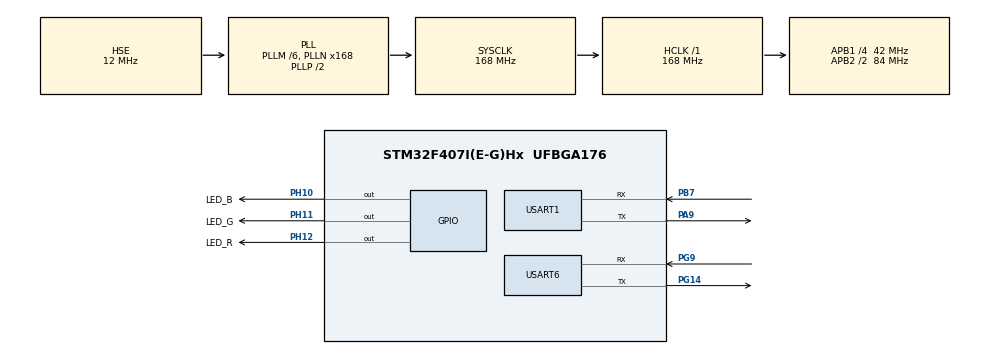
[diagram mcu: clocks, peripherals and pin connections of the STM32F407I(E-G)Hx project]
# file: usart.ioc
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Mcu.Family=STM32F4
Mcu.Name=STM32F407I(E-G)Hx
Mcu.Package=UFBGA176
NVIC.PriorityGroup=NVIC_PRIORITYGROUP_4
NVIC.USART1_IRQn=true\:0\:0\:false\:false\:false\:true\:true
NVIC.USART6_IRQn=true\:0\:0\:false\:false\:false\:true\:true
PA13.Mode=Serial_Wire
PA13.Signal=SYS_JTMS-SWDIO
PA14.Mode=Serial_Wire
PA14.Signal=SYS_JTCK-SWCLK
PA9.Mode=Asynchronous
PA9.Signal=USART1_TX
PB7.Mode=Asynchronous
PB7.Signal=USART1_RX
PD5.Signal=USART2_TX
PD6.Signal=USART2_RX
PG14.Mode=Asynchronous
PG14.Signal=USART6_TX
PG9.Mode=Asynchronous
PG9.Signal=USART6_RX
PH0-OSC_IN.Mode=HSE-External-Oscillator
PH0-OSC_IN.Signal=RCC_OSC_IN
PH1-OSC_OUT.Mode=HSE-External-Oscillator
PH1-OSC_OUT.Signal=RCC_OSC_OUT
PH10.GPIO_Label=LED_B
PH10.GPIO_PuPd=GPIO_PULLUP
PH10.GPIO_Speed=GPIO_SPEED_FREQ_HIGH
PH10.PinState=GPIO_PIN_SET
PH10.Signal=GPIO_Output
PH11.GPIO_Label=LED_G
PH11.GPIO_PuPd=GPIO_PULLUP
PH11.GPIO_Speed=GPIO_SPEED_FREQ_HIGH
PH11.PinState=GPIO_PIN_SET
PH11.Signal=GPIO_Output
PH12.GPIO_Label=LED_R
PH12.GPIO_PuPd=GPIO_PULLUP
PH12.GPIO_Speed=GPIO_SPEED_FREQ_HIGH
PH12.PinState=GPIO_PIN_SET
PH12.Signal=GPIO_Output
ProjectManager.HeapSize=0x200
ProjectManager.StackSize=0x400
ProjectManager.TargetToolchain=MDK-ARM V5
RCC.48MHZClocksFreq_Value=84000000
RCC.AHBFreq_Value=168000000
RCC.APB1CLKDivider=RCC_HCLK_DIV4
RCC.APB1Freq_Value=42000000
RCC.APB1TimFreq_Value=84000000
RCC.APB2CLKDivider=RCC_HCLK_DIV2
RCC.APB2Freq_Value=84000000
RCC.APB2TimFreq_Value=168000000
RCC.CortexFreq_Value=168000000
RCC.HCLKFreq_Value=168000000
RCC.HSE_VALUE=12000000
RCC.HSI_VALUE=16000000
RCC.LSE_VALUE=32768
RCC.PLLM=6
RCC.PLLN=168
RCC.PLLSourceVirtual=RCC_PLLSOURCE_HSE
RCC.SYSCLKFreq_VALUE=168000000
RCC.SYSCLKSource=RCC_SYSCLKSOURCE_PLLCLK
RCC.VCOOutputFreq_Value=336000000
USART1.VirtualMode=VM_ASYNC
USART6.VirtualMode=VM_ASYNC
board=custom

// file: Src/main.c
/* USER CODE BEGIN Header */
/**
  ******************************************************************************
  * @file           : main.c
  * @brief          : Main program body
  ******************************************************************************
  * @attention
  *
  * <h2><center>&copy; Copyright (c) 2019 STMicroelectronics.
  * All rights reserved.</center></h2>
  *
  * This software component is licensed by ST under BSD 3-Clause license,
  * the "License"; You may not use this file except in compliance with the
  * License. You may obtain a copy of the License at:
  *                        opensource.org/licenses/BSD-3-Clause
  *
  ******************************************************************************
  */
/* USER CODE END Header */

#include "main.h"
#include "usart.h"
#include "gpio.h"

void SystemClock_Config(void);

/* USER CODE BEGIN 0 */

void USART1_IRQHandler(void)
{
    volatile uint8_t receive;
    //receive interrupt 接收中断
    if(huart1.Instance->SR & UART_FLAG_RXNE)
    {
        receive = huart1.Instance->DR;
        HAL_GPIO_TogglePin(LED_R_GPIO_Port, LED_R_Pin);

    }
    //idle interrupt 空闲中断
    else if(huart1.Instance->SR & UART_FLAG_IDLE)
    {
        receive = huart1.Instance->DR;
        HAL_GPIO_WritePin(LED_R_GPIO_Port, LED_R_Pin, GPIO_PIN_RESET);
    }

}

void USART6_IRQHandler(void)
{

    volatile uint8_t receive;
    //receive interrupt 接收中断
    if(huart6.Instance->SR & UART_FLAG_RXNE)
    {
        receive = huart6.Instance->DR;
        HAL_GPIO_TogglePin(LED_G_GPIO_Port, LED_G_Pin);

    }
    //idle interrupt 空闲中断
    else if(huart6.Instance->SR & UART_FLAG_IDLE)
    {
        receive = huart6.Instance->DR;
        HAL_GPIO_WritePin(LED_G_GPIO_Port, LED_G_Pin, GPIO_PIN_RESET);
    }

}

/* USER CODE END 0 */

int main(void)
{

  /* MCU Configuration--------------------------------------------------------*/

  /* Reset of all peripherals, Initializes the Flash interface and the Systick. */
  HAL_Init();

  /* Configure the system clock */
  SystemClock_Config();

  /* Initialize all configured peripherals */
  MX_GPIO_Init();
  MX_USART1_UART_Init();
  MX_USART6_UART_Init();
  /* USER CODE BEGIN 2 */

    HAL_GPIO_WritePin(LED_R_GPIO_Port, LED_R_Pin, GPIO_PIN_RESET);
    HAL_GPIO_WritePin(LED_G_GPIO_Port, LED_G_Pin, GPIO_PIN_RESET);
    HAL_GPIO_WritePin(LED_B_GPIO_Port, LED_B_Pin, GPIO_PIN_RESET);
    //enable receive interrupt and idle interrupt
    //使能接收中断和空闲中断
    __HAL_UART_ENABLE_IT(&huart1, UART_IT_RXNE);  //receive interrupt
    __HAL_UART_ENABLE_IT(&huart1, UART_IT_IDLE);  //idle interrupt
    __HAL_UART_ENABLE_IT(&huart6, UART_IT_RXNE);  //receive interrupt
    __HAL_UART_ENABLE_IT(&huart6, UART_IT_IDLE);  //idle interrupt

  /* USER CODE END 2 */

  /* Infinite loop */
  while (1)
  {

    /* USER CODE BEGIN 3 */
        //send data by usart
        //串口发送数据
        HAL_UART_Transmit(&huart1, "RoboMaster\r\n", 12, 100);
        HAL_Delay(100);
        HAL_UART_Transmit(&huart6, "RoboMaster\r\n", 12, 100);
        HAL_Delay(100);
  }
  /* USER CODE END 3 */
}

void SystemClock_Config(void)
{
  RCC_OscInitTypeDef RCC_OscInitStruct = {0};
  RCC_ClkInitTypeDef RCC_ClkInitStruct = {0};

  /** Configure the main internal regulator output voltage
  */
  __HAL_RCC_PWR_CLK_ENABLE();
  __HAL_PWR_VOLTAGESCALING_CONFIG(PWR_REGULATOR_VOLTAGE_SCALE1);
  /** Initializes the CPU, AHB and APB busses clocks
  */
  RCC_OscInitStruct.OscillatorType = RCC_OSCILLATORTYPE_HSE;
  RCC_OscInitStruct.HSEState = RCC_HSE_ON;
  RCC_OscInitStruct.PLL.PLLState = RCC_PLL_ON;
  RCC_OscInitStruct.PLL.PLLSource = RCC_PLLSOURCE_HSE;
  RCC_OscInitStruct.PLL.PLLM = 6;
  RCC_OscInitStruct.PLL.PLLN = 168;
  RCC_OscInitStruct.PLL.PLLP = RCC_PLLP_DIV2;
  RCC_OscInitStruct.PLL.PLLQ = 4;
  if (HAL_RCC_OscConfig(&RCC_OscInitStruct) != HAL_OK)
  {
    Error_Handler();
  }
  /** Initializes the CPU, AHB and APB busses clocks
  */
  RCC_ClkInitStruct.ClockType = RCC_CLOCKTYPE_HCLK|RCC_CLOCKTYPE_SYSCLK
                              |RCC_CLOCKTYPE_PCLK1|RCC_CLOCKTYPE_PCLK2;
  RCC_ClkInitStruct.SYSCLKSource = RCC_SYSCLKSOURCE_PLLCLK;
  RCC_ClkInitStruct.AHBCLKDivider = RCC_SYSCLK_DIV1;
  RCC_ClkInitStruct.APB1CLKDivider = RCC_HCLK_DIV4;
  RCC_ClkInitStruct.APB2CLKDivider = RCC_HCLK_DIV2;

  if (HAL_RCC_ClockConfig(&RCC_ClkInitStruct, FLASH_LATENCY_5) != HAL_OK)
  {
    Error_Handler();
  }
}

void Error_Handler(void)
{
}

/************************ (C) COPYRIGHT STMicroelectronics *****END OF FILE****/
